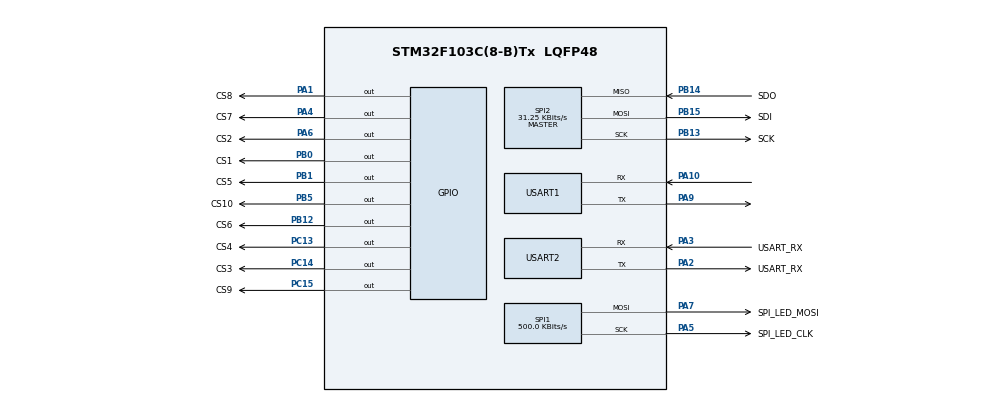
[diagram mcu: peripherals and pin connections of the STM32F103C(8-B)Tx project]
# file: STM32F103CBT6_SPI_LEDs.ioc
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Mcu.Family=STM32F1
Mcu.Name=STM32F103C(8-B)Tx
Mcu.Package=LQFP48
NVIC.PriorityGroup=NVIC_PRIORITYGROUP_4
PA1.GPIO_Label=CS8
PA1.Signal=GPIO_Output
PA10.Mode=Asynchronous
PA10.Signal=USART1_RX
PA13.Mode=Serial_Wire
PA13.Signal=SYS_JTMS-SWDIO
PA14.Mode=Serial_Wire
PA14.Signal=SYS_JTCK-SWCLK
PA2.GPIO_Label=USART_RX
PA2.Mode=Asynchronous
PA2.Signal=USART2_TX
PA3.GPIO_Label=USART_RX
PA3.Mode=Asynchronous
PA3.Signal=USART2_RX
PA4.GPIO_Label=CS7
PA4.Signal=GPIO_Output
PA5.GPIO_Label=SPI_LED_CLK
PA5.Mode=TX_Only_Simplex_Unidirect_Master
PA5.Signal=SPI1_SCK
PA6.GPIO_Label=CS2
PA6.Signal=GPIO_Output
PA7.GPIO_Label=SPI_LED_MOSI
PA7.Mode=TX_Only_Simplex_Unidirect_Master
PA7.Signal=SPI1_MOSI
PA9.Mode=Asynchronous
PA9.Signal=USART1_TX
PB0.GPIO_Label=CS1
PB0.Signal=GPIO_Output
PB1.GPIO_Label=CS5
PB1.Signal=GPIO_Output
PB12.GPIO_Label=CS6
PB12.Signal=GPIO_Output
PB13.GPIO_Label=SCK
PB13.Mode=Full_Duplex_Master
PB13.Signal=SPI2_SCK
PB14.GPIO_Label=SDO
PB14.Mode=Full_Duplex_Master
PB14.Signal=SPI2_MISO
PB15.GPIO_Label=SDI
PB15.Mode=Full_Duplex_Master
PB15.Signal=SPI2_MOSI
PB5.GPIO_Label=CS10
PB5.Signal=GPIO_Output
PC13-TAMPER-RTC.GPIO_Label=CS4
PC13-TAMPER-RTC.Signal=GPIO_Output
PC14-OSC32_IN.GPIO_Label=CS3
PC14-OSC32_IN.Signal=GPIO_Output
PC15-OSC32_OUT.GPIO_Label=CS9
PC15-OSC32_OUT.Signal=GPIO_Output
ProjectManager.HeapSize=0x200
ProjectManager.StackSize=0x400
ProjectManager.TargetToolchain=MDK-ARM V5
RCC.APB1Freq_Value=8000000
RCC.APB2Freq_Value=8000000
SPI1.BaudRatePrescaler=SPI_BAUDRATEPRESCALER_16
SPI1.CLKPhase=SPI_PHASE_2EDGE
SPI1.CLKPolarity=SPI_POLARITY_HIGH
SPI1.CalculateBaudRate=500.0 KBits/s
SPI1.Direction=SPI_DIRECTION_2LINES
SPI1.Mode=SPI_MODE_MASTER
SPI1.VirtualType=VM_MASTER
SPI2.BaudRatePrescaler=SPI_BAUDRATEPRESCALER_256
SPI2.CLKPolarity=SPI_POLARITY_HIGH
SPI2.CalculateBaudRate=31.25 KBits/s
SPI2.Direction=SPI_DIRECTION_2LINES
SPI2.Mode=SPI_MODE_MASTER
SPI2.VirtualType=VM_MASTER
USART1.VirtualMode=VM_ASYNC
USART2.VirtualMode=VM_ASYNC
board=STM32F103CBT6_SPI_LEDs

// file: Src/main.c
/**
  ******************************************************************************
  * File Name          : main.c
  * Description        : Main program body
  ******************************************************************************
  ** This notice applies to any and all portions of this file
  * that are not between comment pairs USER CODE BEGIN and
  * USER CODE END. Other portions of this file, whether
  * inserted by the user or by software development tools
  * are owned by their respective copyright owners.
  *
  * COPYRIGHT(c) 2017 STMicroelectronics
  *
  * Redistribution and use in source and binary forms, with or without modification,
  * are permitted provided that the following conditions are met:
  *   1. Redistributions of source code must retain the above copyright notice,
  *      this list of conditions and the following disclaimer.
  *   2. Redistributions in binary form must reproduce the above copyright notice,
  *      this list of conditions and the following disclaimer in the documentation
  *      and/or other materials provided with the distribution.
  *   3. Neither the name of STMicroelectronics nor the names of its contributors
  *      may be used to endorse or promote products derived from this software
  *      without specific prior written permission.
  *
  * THIS SOFTWARE IS PROVIDED BY THE COPYRIGHT HOLDERS AND CONTRIBUTORS "AS IS"
  * AND ANY EXPRESS OR IMPLIED WARRANTIES, INCLUDING, BUT NOT LIMITED TO, THE
  * IMPLIED WARRANTIES OF MERCHANTABILITY AND FITNESS FOR A PARTICULAR PURPOSE ARE
  * DISCLAIMED. IN NO EVENT SHALL THE COPYRIGHT HOLDER OR CONTRIBUTORS BE LIABLE
  * FOR ANY DIRECT, INDIRECT, INCIDENTAL, SPECIAL, EXEMPLARY, OR CONSEQUENTIAL
  * DAMAGES (INCLUDING, BUT NOT LIMITED TO, PROCUREMENT OF SUBSTITUTE GOODS OR
  * SERVICES; LOSS OF USE, DATA, OR PROFITS; OR BUSINESS INTERRUPTION) HOWEVER
  * CAUSED AND ON ANY THEORY OF LIABILITY, WHETHER IN CONTRACT, STRICT LIABILITY,
  * OR TORT (INCLUDING NEGLIGENCE OR OTHERWISE) ARISING IN ANY WAY OUT OF THE USE
  * OF THIS SOFTWARE, EVEN IF ADVISED OF THE POSSIBILITY OF SUCH DAMAGE.
  *
  ******************************************************************************
  */
#include "main.h"
#include "stm32f1xx_hal.h"
#include "string.h"

SPI_HandleTypeDef hspi1;
SPI_HandleTypeDef hspi2;

UART_HandleTypeDef huart1;
UART_HandleTypeDef huart2;

/* USER CODE BEGIN PV */
/* Private variables ---------------------------------------------------------*/

int LED;
uint8_t lightAllLeds [28] ={0x96, 0xDF, 0xFF, 0xFF, 0x20, 0xFF, 0x20, 0xFF, 0x20, 0xFF, 0x20, 0xFF, 0x20, 0xFF, 0x20, 0xFF, 0x20, 0xFF, 0x20, 0xFF, 0x20, 0xFF, 0x20, 0xFF, 0x20, 0xFF,0x20,0xFF};
uint8_t lightNoLeds [28] ={0x96, 0xDF, 0xFF, 0xFF,0,0,0,0,0,0,0,0,0,0,0,0,0,0,0,0,0,0,0,0,0,0,0,0};

uint8_t LEDinit [28];// ={0x96, 0xDF, 0xFF, 0xFF,0,0,0,0,0,0,0,0,0,0,0,0,0,0,0,0,0,0,0,0,0,0,0,0};
uint8_t LED1 [28] ={0x96, 0xDF, 0xFF, 0xFF,0,0,0,0,0,0,0,0,0,0,0,0,0,0,0,0,0,0,0,0,0,0,0x20,0xFF};
uint8_t LED2 [28] ={0x96, 0xDF, 0xFF, 0xFF,0,0,0,0,0,0,0,0,0,0,0,0,0,0,0,0,0,0,0,0,0x20,0xFF,0,0};
uint8_t LED3 [28] ={0x96, 0xDF, 0xFF, 0xFF,0,0,0,0,0,0,0,0,0,0,0,0,0,0,0,0,0,0,0x20,0xFF,0,0,0,0};
uint8_t LED4 [28] ={0x96, 0xDF, 0xFF, 0xFF,0,0,0,0,0,0,0,0,0,0,0,0,0,0,0,0,0x20,0xFF,0,0,0,0,0,0};
uint8_t LED5 [28] ={0x96, 0xDF, 0xFF, 0xFF,0,0,0,0,0,0,0,0,0,0,0,0,0,0,0x20,0xFF,0,0,0,0,0,0,0,0};
uint8_t LED6 [28] ={0x96, 0xDF, 0xFF, 0xFF,0,0,0,0,0,0,0,0,0,0,0,0,0x20,0xFF,0,0,0,0,0,0,0,0,0,0};
uint8_t LED7 [28] ={0x96, 0xDF, 0xFF, 0xFF,0,0,0,0,0,0,0,0,0,0,0x20,0xFF,0,0,0,0,0,0,0,0,0,0,0,0};
uint8_t LED8 [28] ={0x96, 0xDF, 0xFF, 0xFF,0,0,0,0,0,0,0,0,0x20,0xFF,0,0,0,0,0,0,0,0,0,0,0,0,0,0};
uint8_t LED9 [28] ={0x96, 0xDF, 0xFF, 0xFF,0,0,0,0,0,0,0x20,0xFF,0,0,0,0,0,0,0,0,0,0,0,0,0,0,0,0};
uint8_t LED10 [28] ={0x96, 0xDF, 0xFF, 0xFF,0,0,0,0,0x20,0xFF,0,0,0,0,0,0,0,0,0,0,0,0,0,0,0,0,0,0};

	uint8_t lightUP [28]={150, 223, 255, 255, 255, 255, 255, 255, 255, 255, 255, 255, 255, 255, 255, 255, 255, 255, 255, 255, 255, 255, 255, 255, 255, 255, 255, 255};

	/* USER CODE END PV */

void SystemClock_Config(void);
static void MX_GPIO_Init(void);
static void MX_SPI2_Init(void);
static void MX_USART2_UART_Init(void);
static void MX_USART1_UART_Init(void);
static void MX_SPI1_Init(void);

/* USER CODE BEGIN PFP */
/* Private function prototypes -----------------------------------------------*/

/* USER CODE END PFP */

		char MSG[30];
		char debug[30];

		void debug_array(uint8_t *LEDinit){
			sprintf(debug,"\n\rarray:\t");
			HAL_UART_Transmit(&huart1, (uint8_t *)debug, 30, 65);

			for(int pos=0; pos<28;pos++)
				{
					sprintf(debug,"%u\t",LEDinit[pos]);
			HAL_UART_Transmit(&huart1, (uint8_t *)debug, 30, 65);
				}
					sprintf(debug,"\n\r");
			HAL_UART_Transmit(&huart1, (uint8_t *)debug, 30, 65);
		}

		void AddOneLight(void)
		{
			uint8_t	LEDinit [28] ={0x96, 0xDF, 0xFF, 0xFF,0,0,0,0,0,0,0,0,0,0,0,0,0,0,0,0,0,0,0,0,0,0,0,0};

		for(LED=0;LED<10;LED++)
			{
		LEDinit[27-LED*2]= 0xFF;
		LEDinit[26-LED*2]= 0x20;

		debug_array(LEDinit);

			sprintf(MSG, "\rLED nr. %i: %u\n\r", LED,LEDinit[28-LED*2]);
	HAL_UART_Transmit(&huart1, (uint8_t *)MSG, 30, 65);
			sprintf(MSG, "\rLED nr. %i: %u\n\r", LED,LEDinit[27-LED*2]);
	HAL_UART_Transmit(&huart1, (uint8_t *)MSG, 30, 65);

		HAL_SPI_Transmit(&hspi1, LEDinit, 28, 10);
			HAL_Delay(1000);
		}
}
int main(void)
{

  /* MCU Configuration----------------------------------------------------------*/

  /* Reset of all peripherals, Initializes the Flash interface and the Systick. */
  HAL_Init();

  /* Configure the system clock */
  SystemClock_Config();

  /* Initialize all configured peripherals */
  MX_GPIO_Init();
  MX_SPI2_Init();
  MX_USART2_UART_Init();
  MX_USART1_UART_Init();
  MX_SPI1_Init();

	sprintf(MSG, "\rLEDs will blink!\n\r");
	HAL_UART_Transmit(&huart1, (uint8_t *)MSG, 30, 65);

  /* Infinite loop */
  while (1)
  {
//	char x[1];
//	HAL_UART_Receive(&huart1,x,1,HAL_MAX_DELAY);
//
	sprintf(MSG, "\rstart SPI\n\r");
	HAL_UART_Transmit(&huart1, (uint8_t *)MSG, 30, 65);

	HAL_SPI_Transmit(&hspi1, lightAllLeds, 28, 10);
			HAL_Delay(1000);

	HAL_SPI_Transmit(&hspi1, lightNoLeds, 28, 10);
			HAL_Delay(1000);

	AddOneLight();

//		HAL_SPI_Transmit(&hspi1, LEDinit, 28, 10);
//			HAL_Delay(1000);
//	debug_array();
//		LED=0;
//		LEDinit[28-LED*2]= 0xFF;
//		LEDinit[27-LED*2]= 0;
//		debug_array();

//			sprintf(MSG, "\rLED nr. %i: %u\n\r", LED,LEDinit[28-LED*2]);
//	HAL_UART_Transmit(&huart1, (uint8_t *)MSG, 30, 65);
//			sprintf(MSG, "\rLED nr. %i: %u\n\r", LED,LEDinit[28-LED*2]);
//	HAL_UART_Transmit(&huart1, (uint8_t *)MSG, 30, 65);
//
//		HAL_SPI_Transmit(&hspi1, LEDinit, 28, 10);
//			HAL_Delay(1000);
//
//		LED=1;
//		LEDinit[28-LED*2]= 0xFF;
//		LEDinit[27-LED*2]= 0;
//			debug_array();

//			sprintf(MSG, "\rLED nr. %i: %u\n\r", LED,LEDinit[28-LED*2]);
//	HAL_UART_Transmit(&huart1, (uint8_t *)MSG, 30, 65);
//			sprintf(MSG, "\rLED nr. %i: %u\n\r", LED,LEDinit[28-LED*2]);
//	HAL_UART_Transmit(&huart1, (uint8_t *)MSG, 30, 65);
//
//		HAL_SPI_Transmit(&hspi1, LEDinit, 28, 10);
//			HAL_Delay(1000);
//
//		LED=2;
//		LEDinit[28-LED*2]= 0xFF;
//		LEDinit[27-LED*2]= 0;
//			sprintf(MSG, "\rLED nr. %i: %u\n\r", LED,LEDinit[28-LED*2]);
//	HAL_UART_Transmit(&huart1, (uint8_t *)MSG, 30, 65);
//			sprintf(MSG, "\rLED nr. %i: %u\n\r", LED,LEDinit[28-LED*2]);
//	HAL_UART_Transmit(&huart1, (uint8_t *)MSG, 30, 65);
//
//		HAL_SPI_Transmit(&hspi1, LEDinit, 28, 10);
//			HAL_Delay(1000);
//
//		LED=3;
//		LEDinit[28-LED*2]= 0xFF;
//		LEDinit[27-LED*2]= 0;
//			sprintf(MSG, "\rLED nr. %i: %u\n\r", LED,LEDinit[28-LED*2]);
//	HAL_UART_Transmit(&huart1, (uint8_t *)MSG, 30, 65);
//			sprintf(MSG, "\rLED nr. %i: %u\n\r", LED,LEDinit[28-LED*2]);
//	HAL_UART_Transmit(&huart1, (uint8_t *)MSG, 30, 65);
//
//		HAL_SPI_Transmit(&hspi1, LEDinit, 28, 10);
//			HAL_Delay(1000);
//
//		LED=4;
//		LEDinit[28-LED*2]= 0xFF;
//		LEDinit[27-LED*2]= 0x20;
//			sprintf(MSG, "\rLED nr. %i: %u\n\r", LED,LEDinit[28-LED*2]);
//	HAL_UART_Transmit(&huart1, (uint8_t *)MSG, 30, 65);
//			sprintf(MSG, "\rLED nr. %i: %u\n\r", LED,LEDinit[28-LED*2]);
//	HAL_UART_Transmit(&huart1, (uint8_t *)MSG, 30, 65);
//
//		HAL_SPI_Transmit(&hspi1, LEDinit, 28, 10);
//			HAL_Delay(1000);
//
//		LED=5;
//		LEDinit[28-LED*2]= 0xFF;
//		LEDinit[27-LED*2]= 0x20;
//			sprintf(MSG, "\rLED nr. %i: %u\n\r", LED,LEDinit[28-LED*2]);
//	HAL_UART_Transmit(&huart1, (uint8_t *)MSG, 30, 65);
//			sprintf(MSG, "\rLED nr. %i: %u\n\r", LED,LEDinit[28-LED*2]);
//	HAL_UART_Transmit(&huart1, (uint8_t *)MSG, 30, 65);
//
//		HAL_SPI_Transmit(&hspi1, LEDinit, 28, 10);
//			HAL_Delay(1000);
//
//		LED=6;
//		LEDinit[28-LED*2]= 0xFF;
//		LEDinit[27-LED*2]= 0x20;
//			sprintf(MSG, "\rLED nr. %i: %u\n\r", LED,LEDinit[28-LED*2]);
//	HAL_UART_Transmit(&huart1, (uint8_t *)MSG, 30, 65);
//			sprintf(MSG, "\rLED nr. %i: %u\n\r", LED,LEDinit[28-LED*2]);
//	HAL_UART_Transmit(&huart1, (uint8_t *)MSG, 30, 65);
//
//		HAL_SPI_Transmit(&hspi1, LEDinit, 28, 10);
//			HAL_Delay(1000);
//
//		LED=7;
//		LEDinit[28-LED*2]= 0xFF;
//		LEDinit[27-LED*2]= 0x20;
//			sprintf(MSG, "\rLED nr. %i: %u\n\r", LED,LEDinit[28-LED*2]);
//	HAL_UART_Transmit(&huart1, (uint8_t *)MSG, 30, 65);
//			sprintf(MSG, "\rLED nr. %i: %u\n\r", LED,LEDinit[28-LED*2]);
//	HAL_UART_Transmit(&huart1, (uint8_t *)MSG, 30, 65);
//
//		HAL_SPI_Transmit(&hspi1, LEDinit, 28, 10);
//			HAL_Delay(1000);
//
//		LED=8;
//		LEDinit[28-LED*2]= 0xFF;
//		LEDinit[27-LED*2]= 0x20;
//			sprintf(MSG, "\rLED nr. %i: %u\n\r", LED,LEDinit[28-LED*2]);
//	HAL_UART_Transmit(&huart1, (uint8_t *)MSG, 30, 65);
//			sprintf(MSG, "\rLED nr. %i: %u\n\r", LED,LEDinit[28-LED*2]);
//	HAL_UART_Transmit(&huart1, (uint8_t *)MSG, 30, 65);
//
//		HAL_SPI_Transmit(&hspi1, LEDinit, 28, 10);
//			HAL_Delay(1000);
//
//		LED=9;
//		LEDinit[28-LED*2]= 0xFF;
//		LEDinit[27-LED*2]= 0x20;
//			sprintf(MSG, "\rLED nr. %i: %u\n\r", LED,LEDinit[28-LED*2]);
//	HAL_UART_Transmit(&huart1, (uint8_t *)MSG, 30, 65);
//			sprintf(MSG, "\rLED nr. %i: %u\n\r", LED,LEDinit[28-LED*2]);
//	HAL_UART_Transmit(&huart1, (uint8_t *)MSG, 30, 65);
//
//		HAL_SPI_Transmit(&hspi1, LEDinit, 28, 10);
//			HAL_Delay(1000);
  }

}
/** System Clock Configuration
*/
void SystemClock_Config(void)
{

  RCC_OscInitTypeDef RCC_OscInitStruct;
  RCC_ClkInitTypeDef RCC_ClkInitStruct;

    /**Initializes the CPU, AHB and APB busses clocks
    */
  RCC_OscInitStruct.OscillatorType = RCC_OSCILLATORTYPE_HSI;
  RCC_OscInitStruct.HSIState = RCC_HSI_ON;
  RCC_OscInitStruct.HSICalibrationValue = 16;
  RCC_OscInitStruct.PLL.PLLState = RCC_PLL_NONE;
  if (HAL_RCC_OscConfig(&RCC_OscInitStruct) != HAL_OK)
  {
    _Error_Handler(__FILE__, __LINE__);
  }

    /**Initializes the CPU, AHB and APB busses clocks
    */
  RCC_ClkInitStruct.ClockType = RCC_CLOCKTYPE_HCLK|RCC_CLOCKTYPE_SYSCLK
                              |RCC_CLOCKTYPE_PCLK1|RCC_CLOCKTYPE_PCLK2;
  RCC_ClkInitStruct.SYSCLKSource = RCC_SYSCLKSOURCE_HSI;
  RCC_ClkInitStruct.AHBCLKDivider = RCC_SYSCLK_DIV1;
  RCC_ClkInitStruct.APB1CLKDivider = RCC_HCLK_DIV1;
  RCC_ClkInitStruct.APB2CLKDivider = RCC_HCLK_DIV1;

  if (HAL_RCC_ClockConfig(&RCC_ClkInitStruct, FLASH_LATENCY_0) != HAL_OK)
  {
    _Error_Handler(__FILE__, __LINE__);
  }

    /**Configure the Systick interrupt time
    */
  HAL_SYSTICK_Config(HAL_RCC_GetHCLKFreq()/1000);

    /**Configure the Systick
    */
  HAL_SYSTICK_CLKSourceConfig(SYSTICK_CLKSOURCE_HCLK);

  /* SysTick_IRQn interrupt configuration */
  HAL_NVIC_SetPriority(SysTick_IRQn, 0, 0);
}

/* SPI1 init function */
static void MX_SPI1_Init(void)
{

  hspi1.Instance = SPI1;
  hspi1.Init.Mode = SPI_MODE_MASTER;
  hspi1.Init.Direction = SPI_DIRECTION_1LINE;
  hspi1.Init.DataSize = SPI_DATASIZE_8BIT;
  hspi1.Init.CLKPolarity = SPI_POLARITY_HIGH;
  hspi1.Init.CLKPhase = SPI_PHASE_2EDGE;
  hspi1.Init.NSS = SPI_NSS_SOFT;
  hspi1.Init.BaudRatePrescaler = SPI_BAUDRATEPRESCALER_64;
  hspi1.Init.FirstBit = SPI_FIRSTBIT_MSB;
  hspi1.Init.TIMode = SPI_TIMODE_DISABLE;
  hspi1.Init.CRCCalculation = SPI_CRCCALCULATION_DISABLE;
  hspi1.Init.CRCPolynomial = 10;
  if (HAL_SPI_Init(&hspi1) != HAL_OK)
  {
    _Error_Handler(__FILE__, __LINE__);
  }

}

/* SPI2 init function */
static void MX_SPI2_Init(void)
{

  hspi2.Instance = SPI2;
  hspi2.Init.Mode = SPI_MODE_MASTER;
  hspi2.Init.Direction = SPI_DIRECTION_2LINES;
  hspi2.Init.DataSize = SPI_DATASIZE_8BIT;
  hspi2.Init.CLKPolarity = SPI_POLARITY_HIGH;
  hspi2.Init.CLKPhase = SPI_PHASE_1EDGE;
  hspi2.Init.NSS = SPI_NSS_SOFT;
  hspi2.Init.BaudRatePrescaler = SPI_BAUDRATEPRESCALER_256;
  hspi2.Init.FirstBit = SPI_FIRSTBIT_MSB;
  hspi2.Init.TIMode = SPI_TIMODE_DISABLE;
  hspi2.Init.CRCCalculation = SPI_CRCCALCULATION_DISABLE;
  hspi2.Init.CRCPolynomial = 10;
  if (HAL_SPI_Init(&hspi2) != HAL_OK)
  {
    _Error_Handler(__FILE__, __LINE__);
  }

}

/* USART1 init function */
static void MX_USART1_UART_Init(void)
{

  huart1.Instance = USART1;
  huart1.Init.BaudRate = 115200;
  huart1.Init.WordLength = UART_WORDLENGTH_8B;
  huart1.Init.StopBits = UART_STOPBITS_1;
  huart1.Init.Parity = UART_PARITY_NONE;
  huart1.Init.Mode = UART_MODE_TX_RX;
  huart1.Init.HwFlowCtl = UART_HWCONTROL_NONE;
  huart1.Init.OverSampling = UART_OVERSAMPLING_16;
  if (HAL_UART_Init(&huart1) != HAL_OK)
  {
    _Error_Handler(__FILE__, __LINE__);
  }

}

/* USART2 init function */
static void MX_USART2_UART_Init(void)
{

  huart2.Instance = USART2;
  huart2.Init.BaudRate = 115200;
  huart2.Init.WordLength = UART_WORDLENGTH_8B;
  huart2.Init.StopBits = UART_STOPBITS_1;
  huart2.Init.Parity = UART_PARITY_NONE;
  huart2.Init.Mode = UART_MODE_TX_RX;
  huart2.Init.HwFlowCtl = UART_HWCONTROL_NONE;
  huart2.Init.OverSampling = UART_OVERSAMPLING_16;
  if (HAL_UART_Init(&huart2) != HAL_OK)
  {
    _Error_Handler(__FILE__, __LINE__);
  }

}

/** Configure pins as
        * Analog
        * Input
        * Output
        * EVENT_OUT
        * EXTI
*/
static void MX_GPIO_Init(void)
{

  GPIO_InitTypeDef GPIO_InitStruct;

  /* GPIO Ports Clock Enable */
  __HAL_RCC_GPIOC_CLK_ENABLE();
  __HAL_RCC_GPIOA_CLK_ENABLE();
  __HAL_RCC_GPIOB_CLK_ENABLE();

	  /*Configure GPIO pin Output Level */
  HAL_GPIO_WritePin(GPIOA, GPIO_PIN_7, GPIO_PIN_RESET);

  /*Configure GPIO pin : PA7 */
  GPIO_InitStruct.Pin = GPIO_PIN_7;

  /*Configure GPIO pin Output Level */
  HAL_GPIO_WritePin(GPIOC, CS4_Pin|CS3_Pin|CS9_Pin, GPIO_PIN_RESET);

  /*Configure GPIO pin Output Level */
  HAL_GPIO_WritePin(GPIOA, CS8_Pin|CS7_Pin|CS2_Pin, GPIO_PIN_RESET);

  /*Configure GPIO pin Output Level */
  HAL_GPIO_WritePin(GPIOB, CS1_Pin|CS5_Pin|CS6_Pin|CS10_Pin, GPIO_PIN_RESET);

  /*Configure GPIO pins : CS4_Pin CS3_Pin CS9_Pin */
  GPIO_InitStruct.Pin = CS4_Pin|CS3_Pin|CS9_Pin;
  GPIO_InitStruct.Mode = GPIO_MODE_OUTPUT_PP;
  GPIO_InitStruct.Speed = GPIO_SPEED_FREQ_LOW;
  HAL_GPIO_Init(GPIOC, &GPIO_InitStruct);

  /*Configure GPIO pins : CS8_Pin CS7_Pin CS2_Pin */
  GPIO_InitStruct.Pin = CS8_Pin|CS7_Pin|CS2_Pin;
  GPIO_InitStruct.Mode = GPIO_MODE_OUTPUT_PP;
  GPIO_InitStruct.Speed = GPIO_SPEED_FREQ_LOW;
  HAL_GPIO_Init(GPIOA, &GPIO_InitStruct);

  /*Configure GPIO pins : CS1_Pin CS5_Pin CS6_Pin CS10_Pin */
  GPIO_InitStruct.Pin = CS1_Pin|CS5_Pin|CS6_Pin|CS10_Pin;
  GPIO_InitStruct.Mode = GPIO_MODE_OUTPUT_PP;
  GPIO_InitStruct.Speed = GPIO_SPEED_FREQ_LOW;
  HAL_GPIO_Init(GPIOB, &GPIO_InitStruct);

}

void _Error_Handler(char * file, int line)
{
  while(1)
  {
  }
}

/************************ (C) COPYRIGHT STMicroelectronics *****END OF FILE****/
